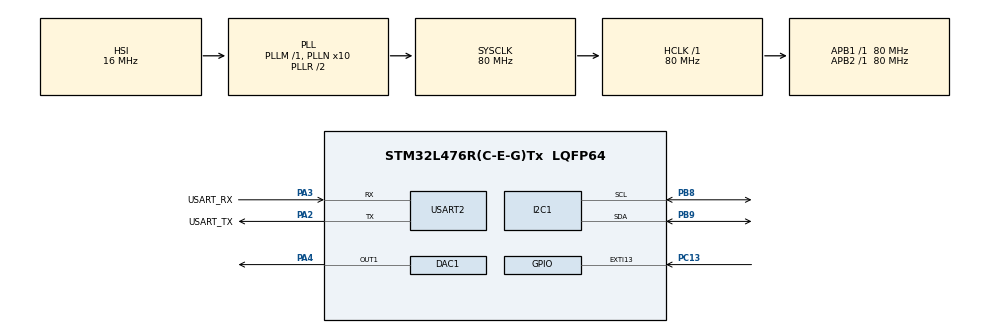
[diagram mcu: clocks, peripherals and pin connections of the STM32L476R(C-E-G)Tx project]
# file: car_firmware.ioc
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DAC1.DAC_Channel-DAC_OUT2=DAC_CHANNEL_2
I2C1.Timing=0x10D19CE4
Mcu.Family=STM32L4
Mcu.Name=STM32L476R(C-E-G)Tx
Mcu.Package=LQFP64
NUCLEO-L476RG.BUTTON=1
NUCLEO-L476RG.LD2=false
NVIC.EXTI15_10_IRQn=true\:0\:0\:false\:false\:true\:false\:true\:true
NVIC.PriorityGroup=NVIC_PRIORITYGROUP_4
PA13\ (JTMS-SWDIO).GPIO_Label=TMS
PA13\ (JTMS-SWDIO).Signal=SYS_JTMS-SWDIO
PA14\ (JTCK-SWCLK).GPIO_Label=TCK
PA14\ (JTCK-SWCLK).Signal=SYS_JTCK-SWCLK
PA2.GPIO_Label=USART_TX
PA2.GPIO_Mode=GPIO_MODE_AF_PP
PA2.GPIO_PuPd=GPIO_NOPULL
PA2.GPIO_Speed=GPIO_SPEED_FREQ_VERY_HIGH
PA2.Mode=Asynchronous
PA2.Signal=USART2_TX
PA3.GPIO_Label=USART_RX
PA3.GPIO_Mode=GPIO_MODE_AF_PP
PA3.GPIO_PuPd=GPIO_NOPULL
PA3.GPIO_Speed=GPIO_SPEED_FREQ_VERY_HIGH
PA3.Mode=Asynchronous
PA3.Signal=USART2_RX
PA4.Signal=COMP_DAC11_group
PB3\ (JTDO-TRACESWO).GPIO_Label=SWO
PB3\ (JTDO-TRACESWO).Signal=SYS_JTDO-SWO
PB8.Mode=I2C
PB8.Signal=I2C1_SCL
PB9.Mode=I2C
PB9.Signal=I2C1_SDA
PC13.Signal=GPXTI13
PC14-OSC32_IN\ (PC14).Signal=RCC_OSC32_IN
PC15-OSC32_OUT\ (PC15).Signal=RCC_OSC32_OUT
PH0-OSC_IN\ (PH0).Signal=RCC_OSC_IN
PH1-OSC_OUT\ (PH1).Signal=RCC_OSC_OUT
ProjectManager.HeapSize=0x200
ProjectManager.StackSize=0x400
ProjectManager.TargetToolchain=Makefile
RCC.ADCFreq_Value=64000000
RCC.AHBFreq_Value=80000000
RCC.APB1Freq_Value=80000000
RCC.APB1TimFreq_Value=80000000
RCC.APB2Freq_Value=80000000
RCC.APB2TimFreq_Value=80000000
RCC.CortexFreq_Value=80000000
RCC.HCLKFreq_Value=80000000
RCC.HSE_VALUE=8000000
RCC.HSI_VALUE=16000000
RCC.LSE_VALUE=32768
RCC.MSI_VALUE=4000000
RCC.PLLN=10
RCC.PLLSourceVirtual=RCC_PLLSOURCE_HSI
RCC.PREFETCH_ENABLE=1
RCC.SYSCLKFreq_VALUE=80000000
RCC.SYSCLKSource=RCC_SYSCLKSOURCE_PLLCLK
RCC.USBFreq_Value=64000000
RCC.VCOOutputFreq_Value=160000000
SH.COMP_DAC11_group.0=DAC1_OUT1,DAC_OUT1
USART2.VirtualMode-Asynchronous=VM_ASYNC
VP_NUCLEO-L476RG_VS_BSP_COMMON.Mode=COMMON
board=NUCLEO-L476RG

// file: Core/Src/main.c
/* USER CODE BEGIN Header */
/**
  ******************************************************************************
  * @file           : main.c
  * @brief          : Main program body
  ******************************************************************************
  * @attention
  *
  * Copyright (c) 2026 STMicroelectronics.
  * All rights reserved.
  *
  * This software is licensed under terms that can be found in the LICENSE file
  * in the root directory of this software component.
  * If no LICENSE file comes with this software, it is provided AS-IS.
  *
  ******************************************************************************
  */
/* USER CODE END Header */
#include "main.h"

/* USER CODE BEGIN Includes */
#include "bno055_sup.h"
#include <string.h>
/* USER CODE END Includes */

DAC_HandleTypeDef hdac1;

I2C_HandleTypeDef hi2c1;

UART_HandleTypeDef huart2;

/* USER CODE BEGIN PV */

struct bno055_t bno055 = {
  .bus_read = bno055_i2c_read,
  .bus_write = bno055_i2c_write,
  .delay_msec = bno055_delay
};

/* USER CODE END PV */

void SystemClock_Config(void);
static void MX_GPIO_Init(void);
static void MX_DAC1_Init(void);
static void MX_USART2_UART_Init(void);
static void MX_I2C1_Init(void);

int main(void)
{

  /* MCU Configuration--------------------------------------------------------*/

  /* Reset of all peripherals, Initializes the Flash interface and the Systick. */
  HAL_Init();

  /* Configure the system clock */
  SystemClock_Config();

  /* Initialize all configured peripherals */
  MX_GPIO_Init();
  MX_DAC1_Init();
  MX_USART2_UART_Init();
  MX_I2C1_Init();

  /* Initialize USER push-button, will be used to trigger an interrupt each time it's pressed.*/
  BSP_PB_Init(BUTTON_USER, BUTTON_MODE_EXTI);

  /* Infinite loop */
  /* USER CODE BEGIN WHILE */
  uint8_t serial_frame[5];
  uint16_t dac1_value = 2048;
  uint16_t dac2_value = 2048;

  uint32_t last_bno_read = HAL_GetTick();
  struct bno055_accel accel_data;
  struct bno055_euler euler_data;

  if (HAL_DAC_Start(&hdac1, DAC_CHANNEL_1) != HAL_OK ||
      HAL_DAC_Start(&hdac1, DAC_CHANNEL_2) != HAL_OK)
  {
    Error_Handler(); //TODO: Handle DAC start error
  }

  HAL_DAC_SetValue(&hdac1, DAC_CHANNEL_1, DAC_ALIGN_12B_R, 2048);
  HAL_DAC_SetValue(&hdac1, DAC_CHANNEL_2, DAC_ALIGN_12B_R, 2048);

  HAL_Delay(1000);

  if (bno055_init(&bno055) != BNO055_SUCCESS || bno055.chip_id != 0xA0 ||
      bno055_set_powermode(POWER_MODE_NORMAL) != BNO055_SUCCESS ||
      bno055_set_operation_mode(OPERATION_MODE_NDOF) != BNO055_SUCCESS)
  {
    Error_Handler(); //TODO: Handle BNO055 initialization error
  }

  while (1)
  {
    /* Wait for the next DAC command before updating the sensor output. */
    if (HAL_UART_Receive(&huart2, serial_frame, sizeof(serial_frame),
                         10) == HAL_OK)
    {
      if (serial_frame[4] != '\n')
      {
        continue;
      }

      dac1_value = (uint16_t)serial_frame[0] |
                   ((uint16_t)serial_frame[1] << 8);
      dac2_value = (uint16_t)serial_frame[2] |
                   ((uint16_t)serial_frame[3] << 8);

      if (dac1_value > 4095U) dac1_value = 4095U;
      if (dac2_value > 4095U) dac2_value = 4095U;

      HAL_DAC_SetValue(&hdac1, DAC_CHANNEL_1, DAC_ALIGN_12B_R, dac1_value);
      HAL_DAC_SetValue(&hdac1, DAC_CHANNEL_2, DAC_ALIGN_12B_R, dac2_value);
    }

    if (HAL_GetTick() - last_bno_read >= BNO_RATE)
    {
      if (bno055_read_accel_xyz(&accel_data) == BNO055_SUCCESS &&
          bno055_read_euler_hrp(&euler_data) == BNO055_SUCCESS)
      {
        const float sensor_values[6] = {
        accel_data.x / 100.0f,
        accel_data.y / 100.0f,
        accel_data.z / 100.0f,
        euler_data.h / 16.0f,
        euler_data.r / 16.0f,
        euler_data.p / 16.0f
        };

        HAL_UART_Transmit(&huart2, (uint8_t *)sensor_values, sizeof(sensor_values), 500);
        last_bno_read = HAL_GetTick();
      };
    }

    /* USER CODE END WHILE */

  }
}

void SystemClock_Config(void)
{
  RCC_OscInitTypeDef RCC_OscInitStruct = {0};
  RCC_ClkInitTypeDef RCC_ClkInitStruct = {0};

  /** Configure the main internal regulator output voltage
  */
  if (HAL_PWREx_ControlVoltageScaling(PWR_REGULATOR_VOLTAGE_SCALE1) != HAL_OK)
  {
    Error_Handler();
  }

  /** Initializes the RCC Oscillators according to the specified parameters
  * in the RCC_OscInitTypeDef structure.
  */
  RCC_OscInitStruct.OscillatorType = RCC_OSCILLATORTYPE_HSI;
  RCC_OscInitStruct.HSIState = RCC_HSI_ON;
  RCC_OscInitStruct.HSICalibrationValue = RCC_HSICALIBRATION_DEFAULT;
  RCC_OscInitStruct.PLL.PLLState = RCC_PLL_ON;
  RCC_OscInitStruct.PLL.PLLSource = RCC_PLLSOURCE_HSI;
  RCC_OscInitStruct.PLL.PLLM = 1;
  RCC_OscInitStruct.PLL.PLLN = 10;
  RCC_OscInitStruct.PLL.PLLP = RCC_PLLP_DIV7;
  RCC_OscInitStruct.PLL.PLLQ = RCC_PLLQ_DIV2;
  RCC_OscInitStruct.PLL.PLLR = RCC_PLLR_DIV2;
  if (HAL_RCC_OscConfig(&RCC_OscInitStruct) != HAL_OK)
  {
    Error_Handler();
  }

  /** Initializes the CPU, AHB and APB buses clocks
  */
  RCC_ClkInitStruct.ClockType = RCC_CLOCKTYPE_HCLK|RCC_CLOCKTYPE_SYSCLK
                              |RCC_CLOCKTYPE_PCLK1|RCC_CLOCKTYPE_PCLK2;
  RCC_ClkInitStruct.SYSCLKSource = RCC_SYSCLKSOURCE_PLLCLK;
  RCC_ClkInitStruct.AHBCLKDivider = RCC_SYSCLK_DIV1;
  RCC_ClkInitStruct.APB1CLKDivider = RCC_HCLK_DIV1;
  RCC_ClkInitStruct.APB2CLKDivider = RCC_HCLK_DIV1;

  if (HAL_RCC_ClockConfig(&RCC_ClkInitStruct, FLASH_LATENCY_4) != HAL_OK)
  {
    Error_Handler();
  }
}

static void MX_DAC1_Init(void)
{

  DAC_ChannelConfTypeDef sConfig = {0};

  /** DAC Initialization
  */
  hdac1.Instance = DAC1;
  if (HAL_DAC_Init(&hdac1) != HAL_OK)
  {
    Error_Handler();
  }

  /** DAC channel OUT1 config
  */
  sConfig.DAC_SampleAndHold = DAC_SAMPLEANDHOLD_DISABLE;
  sConfig.DAC_Trigger = DAC_TRIGGER_NONE;
  sConfig.DAC_OutputBuffer = DAC_OUTPUTBUFFER_ENABLE;
  sConfig.DAC_ConnectOnChipPeripheral = DAC_CHIPCONNECT_DISABLE;
  sConfig.DAC_UserTrimming = DAC_TRIMMING_FACTORY;
  if (HAL_DAC_ConfigChannel(&hdac1, &sConfig, DAC_CHANNEL_1) != HAL_OK)
  {
    Error_Handler();
  }

  /** DAC channel OUT2 config
  */
  if (HAL_DAC_ConfigChannel(&hdac1, &sConfig, DAC_CHANNEL_2) != HAL_OK)
  {
    Error_Handler();
  }

}

static void MX_I2C1_Init(void)
{

  hi2c1.Instance = I2C1;
  hi2c1.Init.Timing = 0x10D19CE4;
  hi2c1.Init.OwnAddress1 = 0;
  hi2c1.Init.AddressingMode = I2C_ADDRESSINGMODE_7BIT;
  hi2c1.Init.DualAddressMode = I2C_DUALADDRESS_DISABLE;
  hi2c1.Init.OwnAddress2 = 0;
  hi2c1.Init.OwnAddress2Masks = I2C_OA2_NOMASK;
  hi2c1.Init.GeneralCallMode = I2C_GENERALCALL_DISABLE;
  hi2c1.Init.NoStretchMode = I2C_NOSTRETCH_DISABLE;
  if (HAL_I2C_Init(&hi2c1) != HAL_OK)
  {
    Error_Handler();
  }

  /** Configure Analogue filter
  */
  if (HAL_I2CEx_ConfigAnalogFilter(&hi2c1, I2C_ANALOGFILTER_ENABLE) != HAL_OK)
  {
    Error_Handler();
  }

  /** Configure Digital filter
  */
  if (HAL_I2CEx_ConfigDigitalFilter(&hi2c1, 0) != HAL_OK)
  {
    Error_Handler();
  }

}

static void MX_USART2_UART_Init(void)
{

  huart2.Instance = USART2;
  huart2.Init.BaudRate = 115200;
  huart2.Init.WordLength = UART_WORDLENGTH_8B;
  huart2.Init.StopBits = UART_STOPBITS_1;
  huart2.Init.Parity = UART_PARITY_NONE;
  huart2.Init.Mode = UART_MODE_TX_RX;
  huart2.Init.HwFlowCtl = UART_HWCONTROL_NONE;
  huart2.Init.OverSampling = UART_OVERSAMPLING_16;
  huart2.Init.OneBitSampling = UART_ONE_BIT_SAMPLE_DISABLE;
  huart2.AdvancedInit.AdvFeatureInit = UART_ADVFEATURE_NO_INIT;
  if (HAL_UART_Init(&huart2) != HAL_OK)
  {
    Error_Handler();
  }

}

static void MX_GPIO_Init(void)
{

  /* GPIO Ports Clock Enable */
  __HAL_RCC_GPIOC_CLK_ENABLE();
  __HAL_RCC_GPIOH_CLK_ENABLE();
  __HAL_RCC_GPIOA_CLK_ENABLE();
  __HAL_RCC_GPIOB_CLK_ENABLE();

}

void Error_Handler(void)
{
  __disable_irq();
  while (1)
  {
  }
}
